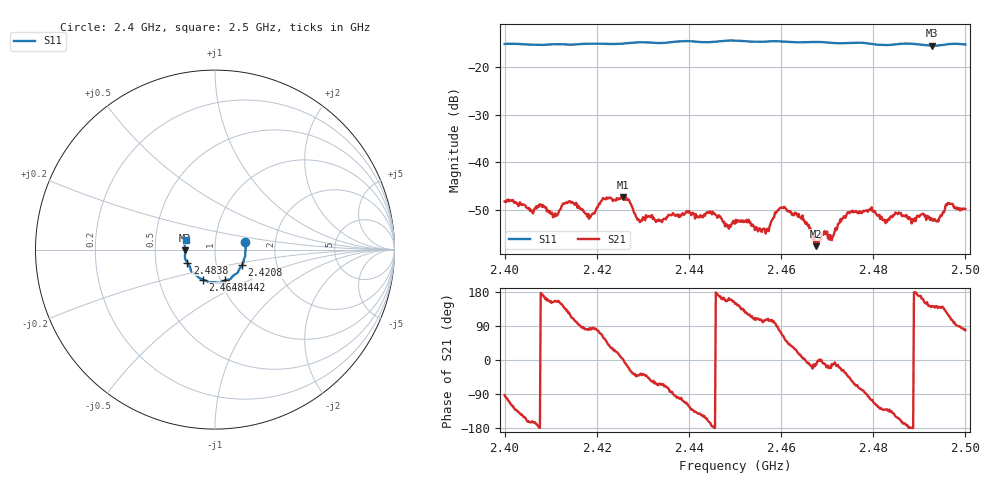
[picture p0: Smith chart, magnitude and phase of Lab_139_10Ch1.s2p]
# Hz S RI R 50
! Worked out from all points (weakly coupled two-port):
!   601 points, 2.4 GHz to 2.5 GHz, reference 50 ohm
!   highest |S21| = -47.24 dB at 2.4257 GHz (marker M1); lowest = -57.5 dB at 2.4675 GHz (marker M2)
!   lowest |S11| = -15.6 dB at 2.4928 GHz (marker M3), VSWR 1.40, Z = 35.8 - j0.352 ohm
!   |S11| at or under -10 dB: start of sweep to end of sweep
!   S12 and S22 are empty: the file has one direction only
!   S11 on the Smith chart (normalised r, x): 2.4 GHz: 1.40, +0.12; 2.4208 GHz: 1.33, -0.24; 2.4442 GHz: 1.05, -0.37; 2.4648 GHz: 0.83, -0.29; 2.4838 GHz: 0.73, -0.11; 2.5 GHz: 0.72, +0.08
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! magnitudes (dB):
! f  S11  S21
! 2.4 GHz  -15.3  -48.2
! 2.411 GHz  -15.3  -50.7
! 2.4137 GHz  -15.4  -48.5
! 2.4167 GHz  -15.2  -49.7
! 2.4185 GHz  -15.2  -51.4
! 2.4208 GHz  -15.2  -48.2
! 2.4257 GHz  -15.2  -47.2
! 2.4292 GHz  -14.9  -52.0
! 2.4333 GHz  -15.0  -52.2
! 2.4442 GHz  -14.9  -50.3
! 2.45 GHz  -14.5  -52.8
! 2.4568 GHz  -14.7  -54.2
! 2.4603 GHz  -14.7  -49.5
! 2.4648 GHz  -14.9  -52.1
! 2.4667 GHz  -14.8  -54.8
! 2.4675 GHz  -14.8  -57.5
! 2.475 GHz  -15.0  -50.3
! 2.4833 GHz  -15.5  -51.8
! 2.4838 GHz  -15.4  -51.3
! 2.4928 GHz  -15.6  -51.8
! 2.4963 GHz  -15.3  -48.7
! 2.5 GHz  -15.3  -49.7
